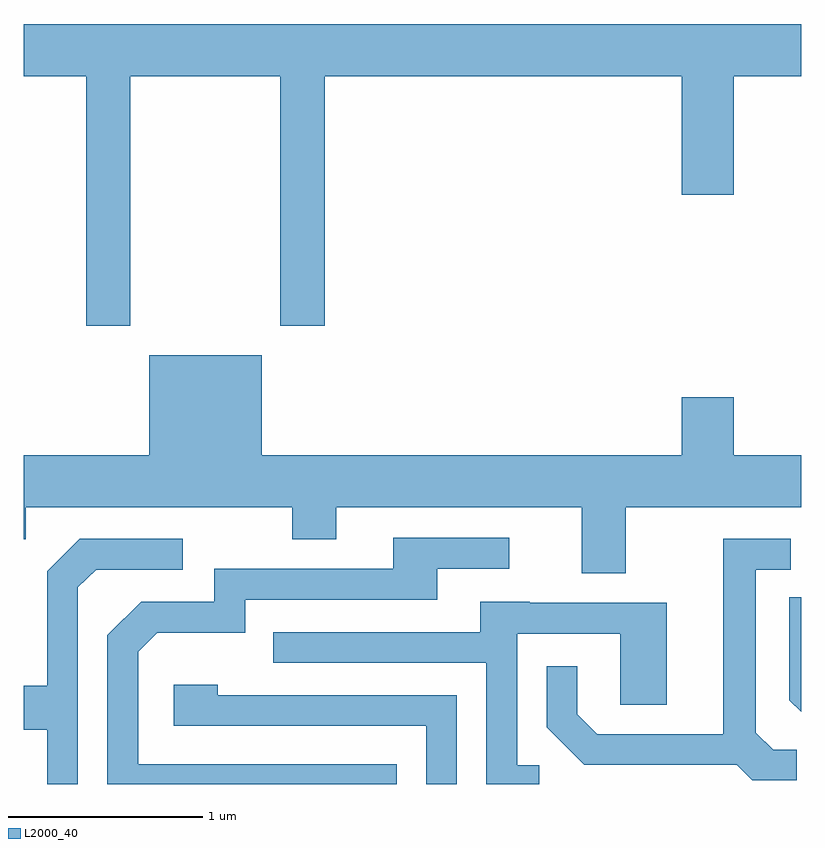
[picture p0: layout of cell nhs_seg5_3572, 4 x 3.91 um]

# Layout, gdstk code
import gdstk
lib = gdstk.Library(unit=1e-6, precision=1e-09)
def P(c, l, *ps):  # polygons
    for p in ps: c.add(gdstk.Polygon(p, *l))
L2000_40 = (2000, 40)

nhs_seg5_3572 = lib.new_cell('nhs_seg5_3572')
P(nhs_seg5_3572, L2000_40, [(291.611,1425.716),(291.931,1425.716),(291.931,1424.431),(292.159,1424.431),(292.159,1425.716),(292.931,1425.716),(292.931,1424.431),(293.159,1424.431),(293.159,1425.716),(294.996,1425.716),(294.996,1425.106),(295.264,1425.106),(295.264,1425.716),(295.611,1425.716),(295.611,1425.984),(291.611,1425.984)],
  [(294.709,1423.496),(295.611,1423.496),(295.611,1423.764),(295.264,1423.764),(295.264,1424.064),(294.996,1424.064),(294.996,1423.764),(292.834,1423.764),(292.834,1424.279),(292.256,1424.279),(292.256,1423.764),(291.611,1423.764),(291.611,1423.331),(291.619,1423.331),(291.619,1423.496),(292.991,1423.496),(292.991,1423.331),(293.219,1423.331),(293.219,1423.496),(294.481,1423.496),(294.481,1423.156),(294.709,1423.156)],
  [(293.529,1422.174),(292.199,1422.174),(292.199,1422.754),(292.297,1422.851),(292.749,1422.851),(292.749,1423.021),(293.739,1423.021),(293.739,1423.181),(294.108,1423.181),(294.108,1423.339),(293.511,1423.339),(293.511,1423.179),(292.591,1423.179),(292.591,1423.009),(292.214,1423.009),(292.041,1422.837),(292.041,1422.072),(293.529,1422.072)],
  [(291.889,1423.084),(291.982,1423.176),(292.428,1423.176),(292.428,1423.334),(291.899,1423.334),(291.731,1423.167),(291.731,1422.579),(291.611,1422.579),(291.611,1422.351),(291.731,1422.351),(291.731,1422.072),(291.889,1422.072)],
  [(295.588,1422.249),(295.467,1422.249),(295.379,1422.337),(295.379,1423.176),(295.558,1423.176),(295.558,1423.334),(295.211,1423.334),(295.211,1422.329),(294.562,1422.329),(294.459,1422.432),(294.459,1422.678),(294.301,1422.678),(294.301,1422.364),(294.494,1422.171),(295.279,1422.171),(295.359,1422.091),(295.588,1422.091)],
  [(295.611,1423.033),(295.551,1423.033),(295.551,1422.504),(295.611,1422.444)],
  [(294.263,1422.169),(294.149,1422.169),(294.149,1422.846),(294.681,1422.846),(294.681,1422.481),(294.919,1422.481),(294.919,1423.004),(294.215,1423.004),(294.215,1423.009),(293.961,1423.009),(293.961,1422.854),(292.893,1422.854),(292.893,1422.696),(293.991,1422.696),(293.991,1422.072),(294.263,1422.072)],
  [(293.839,1422.529),(292.609,1422.529),(292.609,1422.584),(292.381,1422.584),(292.381,1422.371),(293.681,1422.371),(293.681,1422.072),(293.839,1422.072)])

lib.write_gds('nhs_seg5_3572.gds')
